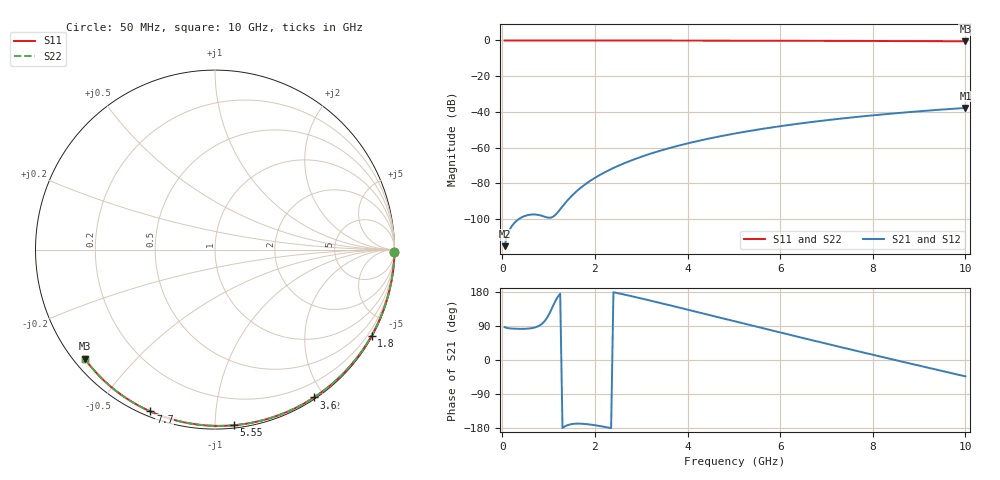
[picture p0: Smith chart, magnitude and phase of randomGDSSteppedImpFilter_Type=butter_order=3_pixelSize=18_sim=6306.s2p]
! freq	dB(S11)	phase(S11)	dB(S12)	phase(S12)
!  dB(S21)	phase(S21)	dB(S22)	phase(S22)
!S-par simulation data
#  GHz  S  DB  R 50
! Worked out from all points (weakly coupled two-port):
!   200 points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, 50 MHz to 10 GHz, reference 50 ohm
!   highest |S21| = -37.81 dB at 10 GHz (marker M1); lowest = -115.3 dB at 50 MHz (marker M2)
!   lowest |S11| = -0.5 dB at 10 GHz (marker M3), VSWR 36.74, Z = 1.54 - j18.2 ohm
!   |S11| at or under -10 dB: nowhere
!   |S22| runs from -0.5 to 0.0 dB; largest |S21 - S12| = 0
!   S11 on the Smith chart (normalised r, x): 50 MHz: open; 1.8 GHz: 0.03, -3.90; 3.6 GHz: 0.02, -1.87; 5.55 GHz: 0.02, -1.12; 7.7 GHz: 0.02, -0.68; 10 GHz: 0.03, -0.36
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0.05  -0.00 -0.8  -115.28 86.7  -115.28 86.7  -0.00 -0.8
0.45  -0.01 -7.3  -98.74 82.2  -98.74 82.2  -0.01 -7.3
0.9  -0.02 -14.5  -98.65 100.6  -98.65 100.6  -0.02 -14.5
1.75  -0.04 -28.0  -81.41 -168.4  -81.41 -168.4  -0.04 -28.0
1.8  -0.04 -28.8  -80.44 -168.9  -80.44 -168.9  -0.04 -28.8
1.85  -0.04 -29.6  -79.53 -169.6  -79.53 -169.6  -0.04 -29.6
2.05  -0.04 -32.7  -76.22 -173.0  -76.22 -173.0  -0.04 -32.7
2.2  -0.04 -35.0  -74.06 -176.3  -74.06 -176.3  -0.04 -35.0
2.55  -0.05 -40.4  -69.72 175.0  -69.72 175.0  -0.05 -40.4
2.95  -0.06 -46.5  -65.66 163.9  -65.66 163.9  -0.06 -46.5
3.4  -0.07 -53.2  -61.86 150.8  -61.86 150.8  -0.07 -53.2
3.6  -0.08 -56.2  -60.37 144.9  -60.37 144.9  -0.08 -56.2
3.9  -0.08 -60.6  -58.33 135.9  -58.33 135.9  -0.08 -60.6
4.3  -0.09 -66.4  -55.89 123.9  -55.89 123.9  -0.09 -66.4
5.05  -0.12 -76.9  -52.01 101.2  -52.01 101.2  -0.12 -76.9
5.55  -0.14 -83.8  -49.82 86.2  -49.82 86.2  -0.14 -83.8
6.1  -0.16 -91.1  -47.68 69.7  -47.68 69.7  -0.16 -91.1
6.7  -0.19 -99.0  -45.63 51.9  -45.63 51.9  -0.19 -99.0
7.7  -0.26 -111.7  -42.73 22.5  -42.73 22.5  -0.26 -111.7
8.35  -0.31 -119.8  -41.12 3.7  -41.12 3.7  -0.31 -119.8
9.2  -0.39 -130.3  -39.29 -20.6  -39.29 -20.6  -0.39 -130.2
10  -0.47 -140.0  -37.81 -43.2  -37.81 -43.2  -0.47 -140.0
